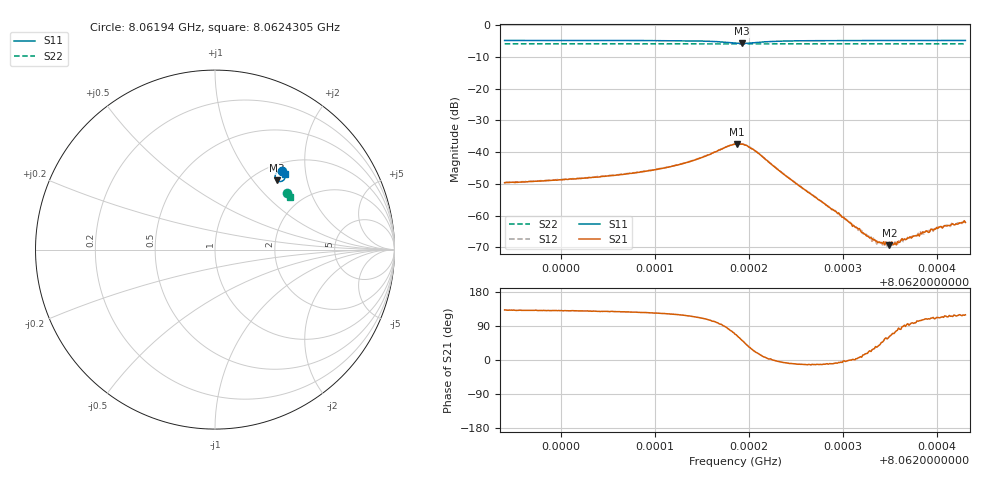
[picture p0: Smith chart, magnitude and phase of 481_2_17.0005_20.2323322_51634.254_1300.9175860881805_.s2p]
#  HZ  S  RI  R  50.00
! Rohde & Schwarz Vector Network Analyzer
! Rohde-Schwarz,ZNB20-2Port,1311601062101988,3.16
! Created: UTC 3/20/2024, 11:13:41 PM
! freq[Hz]  re:S11  im:S11  re:S21  im:S21  re:S12  im:S12  re:S22  im:S22
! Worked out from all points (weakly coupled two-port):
!   401 points, 8.06194 GHz to 8.0624305 GHz, reference 50 ohm
!   highest |S21| = -37.35 dB at 8.0621877 GHz (marker M1); lowest = -69.3 dB at 8.0623496 GHz (marker M2)
!   lowest |S11| = -5.7 dB at 8.0621926 GHz (marker M3), VSWR 3.14, Z = 63.4 + j66.7 ohm
!   |S11| at or under -10 dB: nowhere
!   |S22| runs from -5.9 to -5.8 dB; largest |S21 - S12| = 0.00097
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8.06194002e9  0.373 0.4389  -0.00222 0.00245  -0.0021 0.0026  0.4017 0.3149
8.06202217e9  0.3794 0.4328  -0.00246 0.00301  -0.00233 0.00317  0.4047 0.3106
8.06206754e9  0.3835 0.4283  -0.00273 0.00359  -0.00253 0.0038  0.4065 0.3082
8.06210432e9  0.3872 0.4226  -0.00299 0.00457  -0.00275 0.00476  0.4078 0.3062
8.06213988e9  0.3909 0.4115  -0.0031 0.00665  -0.0027 0.00692  0.409 0.304
8.06218525e9  0.3606 0.3792  0.00497 0.0124  0.00567 0.0121  0.4088 0.3008
8.0621877e9  0.3552 0.3803  0.00605 0.0121  0.00687 0.0118  0.4087 0.3009
8.06219261e9  0.3449 0.3855  0.00828 0.0106  0.00894 0.0101  0.4083 0.301
8.0622061e9  0.3352 0.4125  0.00977 0.00417  0.0101 0.00369  0.4088 0.3016
8.0622392e9  0.3593 0.4353  0.00424 -0.000554  0.00424 -0.000831  0.4112 0.3008
8.0622674e9  0.3706 0.4347  0.00208 -0.000417  0.00207 -0.000608  0.4127 0.2992
8.06229438e9  0.3767 0.4326  0.00107 -0.00016  0.00107 -0.000218  0.4138 0.2978
8.06232258e9  0.3809 0.4305  0.000504 0.000123  0.000521 7.64e-05  0.4149 0.2962
8.06233362e9  0.3821 0.4297  0.000365 0.00021  0.000342 0.000192  0.4154 0.2957
8.06233975e9  0.3829 0.4292  0.000286 0.000249  0.000292 0.000232  0.4156 0.2954
8.06234711e9  0.3837 0.4287  0.000212 0.000309  0.000193 0.00027  0.4158 0.295
8.06234956e9  0.3841 0.4285  0.000162 0.000304  0.000178 0.000343  0.416 0.2947
8.06235569e9  0.3846 0.428  0.000105 0.000358  0.00013 0.000365  0.416 0.2945
8.06236427e9  0.3855 0.4274  9.75e-06 0.000414  4.99e-05 0.000388  0.4165 0.2942
8.06239125e9  0.388 0.4257  -0.000176 0.000517  -0.000152 0.000564  0.4174 0.2927
8.06240228e9  0.3887 0.4249  -0.000241 0.000611  -0.000239 0.000611  0.4179 0.2921
8.06243049e9  0.391 0.4232  -0.000382 0.000685  -0.000355 0.000708  0.4187 0.2905
